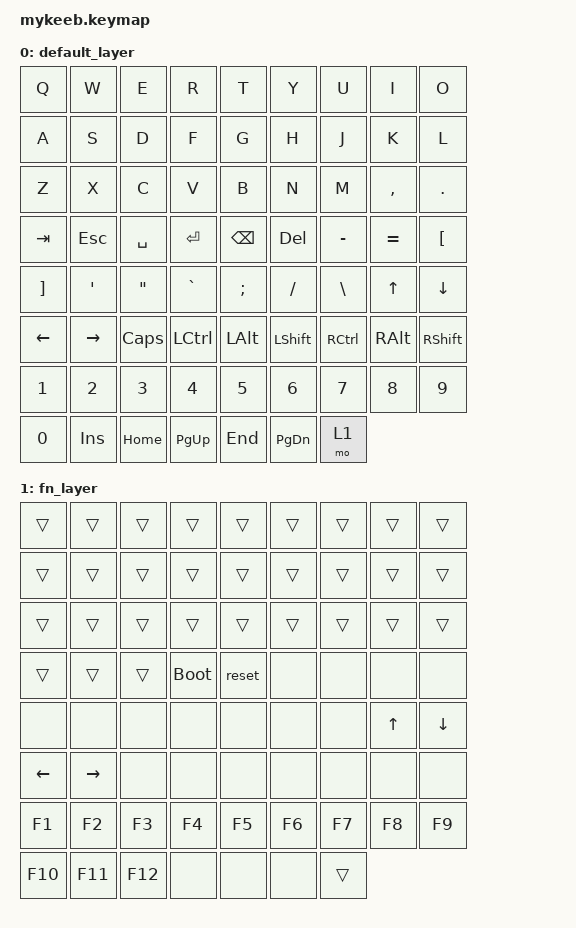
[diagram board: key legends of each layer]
#include <dt-bindings/zmk/keys.h>
#include <dt-bindings/zmk/bt.h>
#include <behaviors.dtsi>
/ {
    keymap {
        compatible = "zmk,keymap";

        default_layer {
            bindings = <
                &kp Q         &kp W         &kp E         &kp R         &kp T         &kp Y         &kp U         &kp I         &kp O
                &kp A         &kp S         &kp D         &kp F         &kp G         &kp H         &kp J         &kp K         &kp L
                &kp Z         &kp X         &kp C         &kp V         &kp B         &kp N         &kp M         &kp COMMA     &kp DOT
                &kp TAB       &kp ESC       &kp SPACE     &kp ENTER     &kp BSPC      &kp DEL       &kp MINUS     &kp EQUAL     &kp LBKT
                &kp RBKT      &kp SQT       &kp DQT       &kp GRAVE     &kp SEMI      &kp SLASH     &kp BACKSLASH &kp UP        &kp DOWN
                &kp LEFT      &kp RIGHT     &kp CAPS      &kp LCTL      &kp LALT      &kp LSHFT     &kp RCTL      &kp RALT      &kp RSHFT
                &kp 1         &kp 2         &kp 3         &kp 4         &kp 5         &kp 6         &kp 7         &kp 8         &kp 9
                &kp 0         &kp INS       &kp HOME      &kp PG_UP     &kp END       &kp PG_DN     &mo 1
            >;
        };

        fn_layer {
            bindings = <
                &trans        &trans        &trans        &trans        &trans        &trans        &trans        &trans        &trans
                &trans        &trans        &trans        &trans        &trans        &trans        &trans        &trans        &trans
                &trans        &trans        &trans        &trans        &trans        &trans        &trans        &trans        &trans
                &trans        &trans        &trans        &bootloader   &reset        &none         &none         &none         &none
                &none         &none         &none         &none         &none         &none         &none         &kp UP        &kp DOWN
                &kp LEFT      &kp RIGHT     &none         &none         &none         &none         &none         &none         &none
                &kp F1        &kp F2        &kp F3        &kp F4        &kp F5        &kp F6        &kp F7        &kp F8        &kp F9
                &kp F10       &kp F11       &kp F12       &none         &none         &none         &trans
            >;
        };
    };
};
